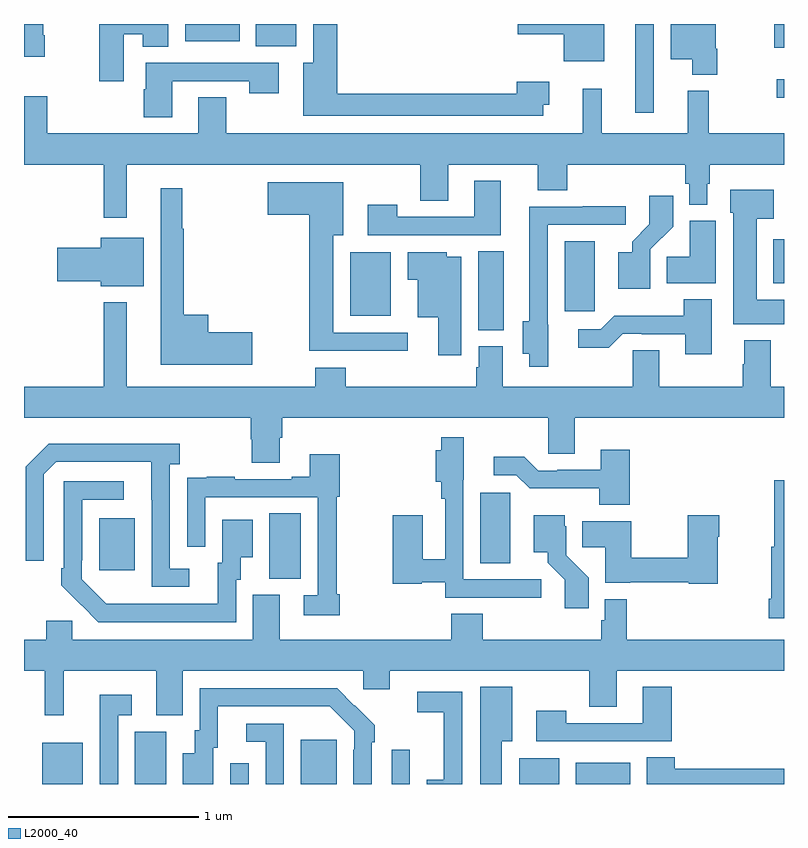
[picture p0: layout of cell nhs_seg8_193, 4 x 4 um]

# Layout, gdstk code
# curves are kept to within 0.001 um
import gdstk
lib = gdstk.Library(unit=1e-6, precision=1e-09)
def R(c, l, rs):  # rectangles x0, y0, x1, y1
    for r in rs: c.add(gdstk.rectangle(r[:2], r[2:], *l))
def P(c, l, *ps):  # polygons
    for p in ps: c.add(gdstk.Polygon(p, *l))
L2000_40 = (2000, 40)

nhs_seg8_193 = lib.new_cell('nhs_seg8_193')
R(nhs_seg8_193, L2000_40, [(123.095,1119.9,123.31,1120.117), (123.584,1119.9,123.748,1120.176), (124.086,1119.9,124.182,1120.009), (124.457,1119.9,124.645,1120.132), (124.935,1119.9,125.031,1120.081), (125.606,1119.9,125.818,1120.036), (125.903,1119.9,126.19,1120.012), (124.292,1120.981,124.456,1121.324), (123.395,1121.025,123.583,1121.299), (125.402,1121.062,125.56,1121.433), (125.39,1122.289,125.524,1122.704), (124.718,1122.365,124.93,1122.7), (125.846,1122.387,126.004,1122.757), (126.944,1122.536,127,1122.766), (126.218,1123.434,126.315,1123.9), (126.963,1123.512,127,1123.608), (126.949,1123.776,127,1123.9), (124.22,1123.784,124.432,1123.9), (123.848,1123.808,124.135,1123.9)])
P(nhs_seg8_193, L2000_40, [(125.734,1123.475),(125.764,1123.475),(125.764,1123.597),(125.594,1123.597),(125.594,1123.532),(124.649,1123.532),(124.649,1123.9),(124.523,1123.9),(124.523,1123.696),(124.469,1123.696),(124.469,1123.416),(125.734,1123.416)],
  [(123.108,1123.84),(123.1,1123.84),(123.1,1123.9),(123,1123.9),(123,1123.728),(123.108,1123.728)],
  [(126.055,1123.9),(125.598,1123.9),(125.598,1123.847),(125.84,1123.847),(125.84,1123.703),(126.055,1123.703)],
  [(126.648,1123.77),(126.64,1123.77),(126.64,1123.9),(126.404,1123.9),(126.404,1123.715),(126.518,1123.715),(126.518,1123.634),(126.648,1123.634)],
  [(123.526,1123.847),(123.626,1123.847),(123.626,1123.78),(123.76,1123.78),(123.76,1123.9),(123.397,1123.9),(123.397,1123.599),(123.526,1123.599)],
  [(123.781,1123.599),(124.186,1123.599),(124.186,1123.536),(124.342,1123.536),(124.342,1123.695),(123.641,1123.695),(123.641,1123.557),(123.629,1123.557),(123.629,1123.41),(123.781,1123.41)],
  [(123.541,1123.16),(125.086,1123.16),(125.086,1122.97),(125.233,1122.97),(125.233,1123.16),(125.705,1123.16),(125.705,1123.024),(125.858,1123.024),(125.858,1123.16),(126.481,1123.16),(126.481,1123.059),(126.501,1123.059),(126.501,1122.95),(126.597,1122.95),(126.597,1123.059),(126.61,1123.059),(126.61,1123.16),(127,1123.16),(127,1123.324),(126.604,1123.324),(126.604,1123.549),(126.494,1123.549),(126.494,1123.324),(126.041,1123.324),(126.041,1123.558),(125.942,1123.558),(125.942,1123.324),(124.065,1123.324),(124.065,1123.514),(123.917,1123.514),(123.917,1123.324),(123.122,1123.324),(123.122,1123.519),(123,1123.519),(123,1123.16),(123.42,1123.16),(123.42,1122.879),(123.541,1122.879)],
  [(125.509,1123.075),(125.369,1123.075),(125.369,1122.885),(124.965,1122.885),(124.965,1122.949),(124.809,1122.949),(124.809,1122.789),(125.509,1122.789)],
  [(125.02,1122.276),(124.627,1122.276),(124.627,1122.788),(124.681,1122.788),(124.681,1123.066),(124.284,1123.066),(124.284,1122.896),(124.502,1122.896),(124.502,1122.179),(125.02,1122.179)],
  [(124.201,1122.278),(123.97,1122.278),(123.97,1122.37),(123.841,1122.37),(123.841,1122.823),(123.833,1122.823),(123.833,1123.036),(123.719,1123.036),(123.719,1122.107),(124.201,1122.107)],
  [(127,1122.448),(126.856,1122.448),(126.856,1122.875),(126.946,1122.875),(126.946,1123.027),(126.717,1123.027),(126.717,1122.906),(126.734,1122.906),(126.734,1122.32),(127,1122.32)],
  [(126.297,1122.715),(126.416,1122.834),(126.416,1122.997),(126.291,1122.997),(126.291,1122.845),(126.2,1122.755),(126.2,1122.7),(126.128,1122.7),(126.128,1122.507),(126.297,1122.507)],
  [(125.758,1122.318),(125.757,1122.318),(125.757,1122.843),(126.166,1122.843),(126.166,1122.942),(125.941,1122.942),(125.941,1122.939),(125.66,1122.939),(125.66,1122.335),(125.624,1122.335),(125.624,1122.164),(125.66,1122.164),(125.66,1122.096),(125.758,1122.096)],
  [(126.64,1122.865),(126.503,1122.865),(126.503,1122.674),(126.382,1122.674),(126.382,1122.536),(126.64,1122.536)],
  [(123.631,1122.775),(123.404,1122.775),(123.404,1122.723),(123.174,1122.723),(123.174,1122.545),(123.404,1122.545),(123.404,1122.521),(123.631,1122.521)],
  [(125.302,1122.676),(125.226,1122.676),(125.226,1122.7),(125.021,1122.7),(125.021,1122.554),(125.072,1122.554),(125.072,1122.356),(125.18,1122.356),(125.18,1122.156),(125.302,1122.156)],
  [(126.619,1122.451),(126.472,1122.451),(126.472,1122.365),(126.107,1122.365),(126.036,1122.294),(125.916,1122.294),(125.916,1122.197),(126.077,1122.197),(126.15,1122.27),(126.25,1122.27),(126.25,1122.267),(126.479,1122.267),(126.479,1122.162),(126.619,1122.162)],
  [(124.345,1121.722),(124.358,1121.722),(124.358,1121.828),(125.76,1121.828),(125.76,1121.638),(125.899,1121.638),(125.899,1121.828),(127,1121.828),(127,1121.992),(126.931,1121.992),(126.931,1122.235),(126.791,1122.235),(126.791,1122.108),(126.784,1122.108),(126.784,1121.992),(126.343,1121.992),(126.343,1122.182),(126.204,1122.182),(126.204,1121.992),(125.521,1121.992),(125.521,1122.204),(125.393,1122.204),(125.393,1122.093),(125.381,1122.093),(125.381,1121.992),(124.694,1121.992),(124.694,1122.091),(124.534,1122.091),(124.534,1121.992),(123.541,1121.992),(123.541,1122.436),(123.42,1122.436),(123.42,1121.992),(123,1121.992),(123,1121.828),(124.193,1121.828),(124.193,1121.715),(124.198,1121.715),(124.198,1121.59),(124.345,1121.59)],
  [(125.722,1120.977),(125.313,1120.977),(125.313,1121.502),(125.314,1121.502),(125.314,1121.725),(125.197,1121.725),(125.197,1121.656),(125.168,1121.656),(125.168,1121.491),(125.197,1121.491),(125.197,1121.402),(125.217,1121.402),(125.217,1121.083),(125.098,1121.083),(125.098,1121.314),(124.94,1121.314),(124.94,1120.954),(125.094,1120.954),(125.094,1120.962),(125.217,1120.962),(125.217,1120.881),(125.497,1120.881),(125.497,1120.879),(125.722,1120.879)],
  [(123.871,1121.034),(123.768,1121.034),(123.768,1121.582),(123.82,1121.582),(123.82,1121.692),(123.13,1121.692),(123.009,1121.571),(123.009,1121.076),(123.105,1121.076),(123.105,1121.529),(123.171,1121.595),(123.671,1121.595),(123.672,1120.938),(123.871,1120.938)],
  [(126.188,1121.659),(126.035,1121.659),(126.035,1121.553),(125.806,1121.553),(125.806,1121.55),(125.706,1121.55),(125.633,1121.623),(125.472,1121.623),(125.472,1121.526),(125.592,1121.526),(125.663,1121.456),(126.028,1121.456),(126.028,1121.369),(126.188,1121.369)],
  [(124.661,1120.9),(124.646,1120.9),(124.646,1121.412),(124.661,1121.412),(124.661,1121.635),(124.505,1121.635),(124.505,1121.518),(124.409,1121.518),(124.409,1121.505),(124.109,1121.505),(124.109,1121.518),(123.961,1121.518),(123.961,1121.511),(123.859,1121.511),(123.859,1121.402),(123.858,1121.402),(123.858,1121.148),(123.954,1121.148),(123.954,1121.409),(124.545,1121.409),(124.545,1120.893),(124.473,1120.893),(124.473,1120.788),(124.661,1120.788)],
  [(127,1121.5),(126.949,1121.5),(126.949,1121.148),(126.932,1121.148),(126.932,1120.876),(126.92,1120.876),(126.92,1120.772),(127,1120.772)],
  [(124.116,1120.974),(124.141,1120.974),(124.141,1121.093),(124.204,1121.093),(124.204,1121.29),(124.043,1121.29),(124.043,1121.064),(124.019,1121.064),(124.019,1120.848),(123.432,1120.849),(123.303,1120.977),(123.303,1121.077),(123.306,1121.077),(123.306,1121.397),(123.526,1121.397),(123.526,1121.493),(123.21,1121.493),(123.21,1121.035),(123.195,1121.035),(123.195,1120.947),(123.392,1120.752),(124.116,1120.752)],
  [(125.972,1120.986),(125.853,1121.105),(125.853,1121.256),(125.845,1121.256),(125.845,1121.314),(125.684,1121.314),(125.684,1121.12),(125.756,1121.12),(125.756,1121.065),(125.847,1120.975),(125.847,1120.824),(125.972,1120.824)],
  [(126.652,1121.201),(126.66,1121.201),(126.66,1121.314),(126.494,1121.314),(126.494,1121.09),(126.196,1121.09),(126.196,1121.284),(125.938,1121.284),(125.938,1121.146),(126.059,1121.146),(126.059,1120.958),(126.192,1120.958),(126.192,1120.962),(126.498,1120.962),(126.498,1120.954),(126.652,1120.954)],
  [(123.835,1120.496),(124.785,1120.496),(124.785,1120.398),(124.924,1120.398),(124.924,1120.496),(125.974,1120.496),(125.974,1120.306),(126.121,1120.306),(126.121,1120.496),(127,1120.496),(127,1120.66),(126.173,1120.66),(126.173,1120.873),(126.057,1120.873),(126.057,1120.761),(126.037,1120.761),(126.037,1120.66),(125.414,1120.66),(125.414,1120.796),(125.249,1120.796),(125.249,1120.66),(124.345,1120.66),(124.345,1120.896),(124.205,1120.896),(124.205,1120.66),(123.255,1120.66),(123.255,1120.758),(123.116,1120.758),(123.116,1120.66),(123,1120.66),(123,1120.496),(123.11,1120.496),(123.11,1120.263),(123.209,1120.263),(123.209,1120.496),(123.695,1120.496),(123.695,1120.261),(123.835,1120.261)],
  [(125.515,1120.124),(125.569,1120.124),(125.569,1120.411),(125.402,1120.411),(125.402,1119.9),(125.515,1119.9)],
  [(126.41,1120.411),(126.257,1120.411),(126.257,1120.221),(125.853,1120.221),(125.853,1120.285),(125.697,1120.285),(125.697,1120.125),(126.41,1120.125)],
  [(123.997,1120.092),(124.021,1120.092),(124.021,1120.308),(124.609,1120.308),(124.737,1120.179),(124.737,1120.079),(124.734,1120.079),(124.734,1119.9),(124.83,1119.9),(124.83,1120.121),(124.845,1120.121),(124.845,1120.209),(124.648,1120.404),(123.924,1120.404),(123.924,1120.182),(123.899,1120.182),(123.899,1120.063),(123.836,1120.063),(123.836,1119.9),(123.997,1119.9)],
  [(125.307,1120.386),(125.07,1120.386),(125.07,1120.278),(125.21,1120.278),(125.21,1119.922),(125.12,1119.922),(125.12,1119.9),(125.307,1119.9)],
  [(123.495,1120.263),(123.568,1120.263),(123.568,1120.369),(123.399,1120.369),(123.399,1119.9),(123.495,1119.9)],
  [(124.368,1120.218),(124.17,1120.218),(124.17,1120.122),(124.272,1120.122),(124.272,1119.9),(124.368,1119.9)],
  [(127,1119.98),(126.425,1119.98),(126.425,1120.04),(126.278,1120.04),(126.278,1119.9),(127,1119.9)])

lib.write_gds('nhs_seg8_193.gds')
